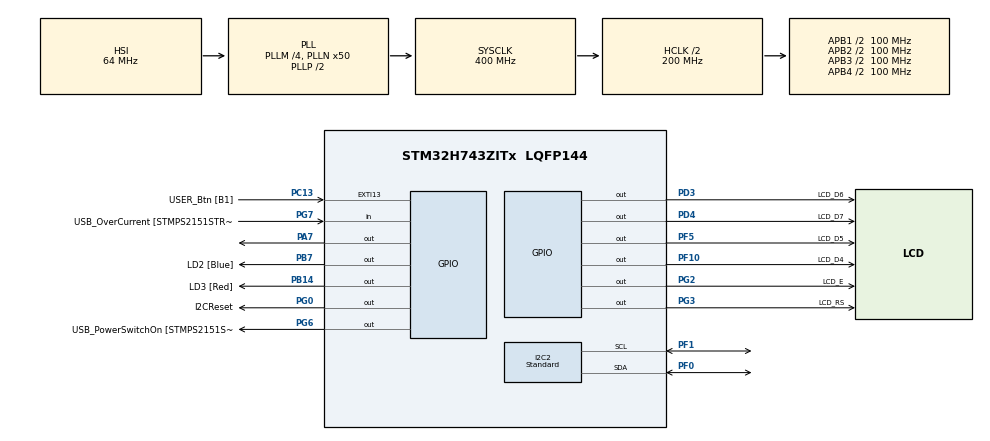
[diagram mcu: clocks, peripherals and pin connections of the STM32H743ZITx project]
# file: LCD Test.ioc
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I2C2.I2C_Speed_Mode=I2C_Standard
I2C2.Timing=0x10C0ECFF
Mcu.Family=STM32H7
Mcu.Name=STM32H743ZITx
Mcu.Package=LQFP144
NVIC.PriorityGroup=NVIC_PRIORITYGROUP_4
NVIC.TIM17_IRQn=true\:0\:0\:false\:false\:true\:true
PA1.GPIO_Label=RMII_REF_CLK
PA1.Signal=ETH_REF_CLK
PA10.GPIO_Label=USB_ID
PA10.Signal=USB_OTG_FS_ID
PA11.GPIO_Label=USB_DM
PA11.Signal=USB_OTG_FS_DM
PA12.GPIO_Label=USB_DP
PA12.Signal=USB_OTG_FS_DP
PA13\ (JTMS/SWDIO).GPIO_Label=TMS
PA13\ (JTMS/SWDIO).Mode=Serial_Wire
PA13\ (JTMS/SWDIO).Signal=SYS_JTMS-SWDIO
PA14\ (JTCK/SWCLK).GPIO_Label=TCK
PA14\ (JTCK/SWCLK).Mode=Serial_Wire
PA14\ (JTCK/SWCLK).Signal=SYS_JTCK-SWCLK
PA2.GPIO_Label=RMII_MDIO
PA2.Signal=ETH_MDIO
PA7.Signal=GPIO_Output
PA8.GPIO_Label=USB_SOF [TP1]
PA8.Signal=USB_OTG_FS_SOF
PA9.GPIO_Label=USB_VBUS
PA9.Signal=USB_OTG_FS_VBUS
PB13.GPIO_Label=RMII_TXD1
PB13.Signal=ETH_TXD1
PB14.GPIO_Label=LD3 [Red]
PB14.Signal=GPIO_Output
PB3\ (JTDO/TRACESWO).GPIO_Label=SWO
PB3\ (JTDO/TRACESWO).Signal=SYS_JTDO-SWO
PB7.GPIO_Label=LD2 [Blue]
PB7.Signal=GPIO_Output
PC1.GPIO_Label=RMII_MDC
PC1.Signal=ETH_MDC
PC13.GPIO_Label=USER_Btn [B1]
PC13.Signal=GPXTI13
PC14-OSC32_IN\ (OSC32_IN).Signal=RCC_OSC32_IN
PC15-OSC32_OUT\ (OSC32_OUT).Signal=RCC_OSC32_OUT
PC4.GPIO_Label=RMII_RXD0
PC4.Signal=ETH_RXD0
PC5.GPIO_Label=RMII_RXD1
PC5.Signal=ETH_RXD1
PD3.GPIO_Label=LCD_D6
PD3.GPIO_Speed=GPIO_SPEED_FREQ_HIGH
PD3.Signal=GPIO_Output
PD4.GPIO_Label=LCD_D7
PD4.GPIO_Speed=GPIO_SPEED_FREQ_HIGH
PD4.Signal=GPIO_Output
PD8.GPIO_Label=STLK_RX [STM32F103CBT6_PA3]
PD8.Signal=USART3_TX
PD9.GPIO_Label=STLK_TX [STM32F103CBT6_PA2]
PD9.Signal=USART3_RX
PF0.Mode=I2C
PF0.Signal=I2C2_SDA
PF1.Mode=I2C
PF1.Signal=I2C2_SCL
PF10.GPIO_Label=LCD_D4
PF10.GPIO_Speed=GPIO_SPEED_FREQ_HIGH
PF10.Signal=GPIO_Output
PF5.GPIO_Label=LCD_D5
PF5.GPIO_Speed=GPIO_SPEED_FREQ_HIGH
PF5.Signal=GPIO_Output
PG0.GPIO_Label=I2CReset
PG0.GPIO_PuPd=GPIO_NOPULL
PG0.GPIO_Speed=GPIO_SPEED_FREQ_LOW
PG0.PinState=GPIO_PIN_SET
PG0.Signal=GPIO_Output
PG11.GPIO_Label=RMII_TX_EN
PG11.Signal=ETH_TX_EN
PG13.GPIO_Label=RMII_TXD0
PG13.Signal=ETH_TXD0
PG2.GPIO_Label=LCD_E
PG2.GPIO_Speed=GPIO_SPEED_FREQ_HIGH
PG2.Signal=GPIO_Output
PG3.GPIO_Label=LCD_RS
PG3.GPIO_Speed=GPIO_SPEED_FREQ_HIGH
PG3.Signal=GPIO_Output
PG6.GPIO_Label=USB_PowerSwitchOn [STMPS2151STR_EN]
PG6.Signal=GPIO_Output
PG7.GPIO_Label=USB_OverCurrent [STMPS2151STR_FAULT]
PG7.Signal=GPIO_Input
PH0-OSC_IN\ (PH0).GPIO_Label=MCO
PH0-OSC_IN\ (PH0).Signal=RCC_OSC_IN
ProjectManager.HeapSize=0x200
ProjectManager.StackSize=0x400
ProjectManager.TargetToolchain=TrueSTUDIO
RCC.48MHZClocksFreq_Value=24000000
RCC.ADCFreq_Value=129000000
RCC.AHBFreq_Value=216000000
RCC.APB1CLKDivider=RCC_HCLK_DIV4
RCC.APB1Freq_Value=100000000
RCC.APB1TimFreq_Value=108000000
RCC.APB2CLKDivider=RCC_HCLK_DIV2
RCC.APB2Freq_Value=100000000
RCC.APB2TimFreq_Value=216000000
RCC.APB3Freq_Value=100000000
RCC.APB4Freq_Value=100000000
RCC.CortexFreq_Value=400000000
RCC.D1PPRE=RCC_APB3_DIV2
RCC.D2PPRE1=RCC_APB1_DIV2
RCC.D2PPRE2=RCC_APB2_DIV2
RCC.D3PPRE=RCC_APB4_DIV2
RCC.DIVM1=4
RCC.DIVN1=50
RCC.DIVQ1=4
RCC.HCLKFreq_Value=200000000
RCC.HPRE=RCC_HCLK_DIV2
RCC.HSE_VALUE=8000000
RCC.HSI_VALUE=64000000
RCC.PLLM=25
RCC.PLLMUL=RCC_PLL_MUL9
RCC.PLLN=432
RCC.PLLQ=9
RCC.PRESCALERUSB=RCC_USBCLKSOURCE_PLL_DIV1_5
RCC.SYSCLKFreq_VALUE=400000000
RCC.SYSCLKSource=RCC_SYSCLKSOURCE_PLLCLK
RCC.SYSCLKSourceVirtual=RCC_SYSCLKSOURCE_PLLCLK
RCC.USBFreq_Value=200000000
RCC.VCOOutputFreq_Value=432000000
TIM17.Period=1
TIM17.Prescaler=20000
VP_TIM17_VS_ClockSourceINT.Mode=Enable_Timer
board=NUCLEO-H743ZI

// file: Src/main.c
/* USER CODE BEGIN Header */
/**
  ******************************************************************************
  * @file           : main.c
  * @brief          : Main program body
  ******************************************************************************
  ** This notice applies to any and all portions of this file
  * that are not between comment pairs USER CODE BEGIN and
  * USER CODE END. Other portions of this file, whether
  * inserted by the user or by software development tools
  * are owned by their respective copyright owners.
  *
  * COPYRIGHT(c) 2019 STMicroelectronics
  *
  * Redistribution and use in source and binary forms, with or without modification,
  * are permitted provided that the following conditions are met:
  *   1. Redistributions of source code must retain the above copyright notice,
  *      this list of conditions and the following disclaimer.
  *   2. Redistributions in binary form must reproduce the above copyright notice,
  *      this list of conditions and the following disclaimer in the documentation
  *      and/or other materials provided with the distribution.
  *   3. Neither the name of STMicroelectronics nor the names of its contributors
  *      may be used to endorse or promote products derived from this software
  *      without specific prior written permission.
  *
  * THIS SOFTWARE IS PROVIDED BY THE COPYRIGHT HOLDERS AND CONTRIBUTORS "AS IS"
  * AND ANY EXPRESS OR IMPLIED WARRANTIES, INCLUDING, BUT NOT LIMITED TO, THE
  * IMPLIED WARRANTIES OF MERCHANTABILITY AND FITNESS FOR A PARTICULAR PURPOSE ARE
  * DISCLAIMED. IN NO EVENT SHALL THE COPYRIGHT HOLDER OR CONTRIBUTORS BE LIABLE
  * FOR ANY DIRECT, INDIRECT, INCIDENTAL, SPECIAL, EXEMPLARY, OR CONSEQUENTIAL
  * DAMAGES (INCLUDING, BUT NOT LIMITED TO, PROCUREMENT OF SUBSTITUTE GOODS OR
  * SERVICES; LOSS OF USE, DATA, OR PROFITS; OR BUSINESS INTERRUPTION) HOWEVER
  * CAUSED AND ON ANY THEORY OF LIABILITY, WHETHER IN CONTRACT, STRICT LIABILITY,
  * OR TORT (INCLUDING NEGLIGENCE OR OTHERWISE) ARISING IN ANY WAY OUT OF THE USE
  * OF THIS SOFTWARE, EVEN IF ADVISED OF THE POSSIBILITY OF SUCH DAMAGE.
  *
  ******************************************************************************
  */
/* USER CODE END Header */

#include "main.h"

/* USER CODE BEGIN Includes */

#include "vhd44780.h"

/* USER CODE END Includes */

/* USER CODE BEGIN PD */

/* Size of Transmission buffer */
#define TXBUFFERSIZE                      1024
/* Size of Reception buffer */
#define RXBUFFERSIZE                      TXBUFFERSIZE

/* USER CODE END PD */

I2C_HandleTypeDef hi2c2;

TIM_HandleTypeDef htim17;

/* USER CODE BEGIN PV */

/* Buffer used for transmission */
uint8_t I2CTxBuffer[TXBUFFERSIZE];

/* Buffer used for reception */
uint8_t I2CRxBuffer[RXBUFFERSIZE];

/* USER CODE END PV */

void SystemClock_Config(void);
static void MX_GPIO_Init(void);
static void MX_TIM17_Init(void);
static void MX_I2C2_Init(void);

/* USER CODE BEGIN 0 */

 void HAL_TIM_PeriodElapsedCallback(TIM_HandleTypeDef *htim)
 {
 	if ( htim->Instance == TIM17 ){
 		hd44780_Isr(); // call interrupt handler to run next clock tick for display.
 //		HAL_GPIO_TogglePin(LD2_GPIO_Port,LD2_Pin);
 	}
 }

/* USER CODE END 0 */

int main(void)
{

  /* MCU Configuration--------------------------------------------------------*/

  /* Reset of all peripherals, Initializes the Flash interface and the Systick. */
  HAL_Init();

  /* Configure the system clock */
  SystemClock_Config();

  /* Initialize all configured peripherals */
  MX_GPIO_Init();
  MX_TIM17_Init();
  MX_I2C2_Init();
  /* USER CODE BEGIN 2 */

  // bosch  db055 is i2c id 0x29

  hd44780_Init();

  HAL_NVIC_SetPriority(TIM17_IRQn, 0, 0);
  HAL_NVIC_EnableIRQ(TIM17_IRQn);

  HAL_TIM_Base_Start_IT(&htim17);

  // bosch OPR_MODE 0x3D register

  	int i = 0;
	char buf[12];
	HAL_StatusTypeDef result;

// searching for i2c devices.

	/*
	for (i=1; i<128; i++)
	*/

	// reset the BNO055 with reset pin.

	HAL_GPIO_WritePin(I2CReset_GPIO_Port,I2CReset_Pin,0);
	HAL_Delay(1);
	HAL_GPIO_WritePin(I2CReset_GPIO_Port,I2CReset_Pin,1);
	HAL_Delay(650);

	  //
	  // the HAL wants a left aligned i2c address
	  // &hi2c1 is the handle
	  // (uint16_t)(i<<1) is the i2c address left aligned
	  // retries 2
	  // timeout 2

		// wire reset pin, toggle on boot?

	  // check if i2c device is there.  0x29
	  result = HAL_I2C_IsDeviceReady(&hi2c2, (uint16_t)(0x29<<1), 2, 2);
	  if (result != HAL_OK) // HAL_ERROR or HAL_BUSY or HAL_TIMEOUT
	  {
		  sprintf(buf, "0x%X : no", i);
		  hd44780_writeline1(buf);
		  // No ACK received at that address, hardware not responding.
	  }
	  if (result == HAL_OK)
	  {

			sprintf(buf, "0x%X : yes", i);
			hd44780_writeline1(buf);
			// Received an ACK at that address, device is responding.
	  }

  HAL_Delay(500);

  I2CTxBuffer[0] = 0;
  I2CTxBuffer[1] = 0;
  i = 0;

  // send message
  while(HAL_I2C_Master_Transmit(&hi2c2, (uint16_t)0x29<<1, (uint8_t*)I2CTxBuffer, 1, 1)!= HAL_OK)
  {
    /* Error_Handler() function is called when Timeout error occurs.
       When Acknowledge failure occurs (Slave don't acknowledge its address)
       Master restarts communication */
    if (HAL_I2C_GetError(&hi2c2) != HAL_I2C_ERROR_AF)
    {
      HAL_GPIO_WritePin(LD3_GPIO_Port,LD3_Pin,1);
      Error_Handler();
      break;
    }
    i++;
  }

 // while(HAL_I2C_Master_Transmit_DMA(&hi2c2, (uint16_t)0x29, (uint8_t*)I2CTxBuffer, 1)!= HAL_OK)

	//	-- Read chip information.
/*		RX_buff = I2C.writeRead({0x00}, 7)
		print("Chip ID: ", string.format("0x%02X",RX_buff[1]))
		print("Software Revision: ", RX_buff[5] + RX_buff[6] * 256)

*/

  // wait for message to finish sending.
  HAL_GPIO_WritePin(LD2_GPIO_Port,LD2_Pin,1);

  while (HAL_I2C_GetState(&hi2c2) != HAL_I2C_STATE_READY)
    {

    }

  // receive message.

  while(HAL_I2C_Master_Receive(&hi2c2, (uint16_t)0x29<<1, (uint8_t *)I2CRxBuffer, 7, 1) != HAL_OK)
  {
    /* Error_Handler() function is called when Timeout error occurs.
       When Acknowledge failure occurs (Slave don't acknowledge it's address)
       Master restarts communication */
    if (HAL_I2C_GetError(&hi2c2) != HAL_I2C_ERROR_AF)
    {
      Error_Handler();
    }
  }

  /* USER CODE END 2 */

  /* Infinite loop */
  /* USER CODE BEGIN WHILE */
 // int i = 0;
  while (1)
  {
    /* USER CODE END WHILE */

    /* USER CODE BEGIN 3 */

	HAL_Delay(1000);
	i++;
	char buf[12];
	sprintf(buf, "Counter %d", i);
	hd44780_writeline1(buf);
//	hd44780_writeline2(I2CRxBuffer);

  }
  /* USER CODE END 3 */
}

void SystemClock_Config(void)
{
  RCC_OscInitTypeDef RCC_OscInitStruct = {0};
  RCC_ClkInitTypeDef RCC_ClkInitStruct = {0};
  RCC_PeriphCLKInitTypeDef PeriphClkInitStruct = {0};

  /**Supply configuration update enable
  */
  MODIFY_REG(PWR->CR3, PWR_CR3_SCUEN, 0);
  /**Configure the main internal regulator output voltage
  */
  __HAL_PWR_VOLTAGESCALING_CONFIG(PWR_REGULATOR_VOLTAGE_SCALE1);

  while ((PWR->D3CR & (PWR_D3CR_VOSRDY)) != PWR_D3CR_VOSRDY)
  {

  }
  /**Initializes the CPU, AHB and APB busses clocks
  */
  RCC_OscInitStruct.OscillatorType = RCC_OSCILLATORTYPE_HSI;
  RCC_OscInitStruct.HSIState = RCC_HSI_DIV1;
  RCC_OscInitStruct.HSICalibrationValue = RCC_HSICALIBRATION_DEFAULT;
  RCC_OscInitStruct.PLL.PLLState = RCC_PLL_ON;
  RCC_OscInitStruct.PLL.PLLSource = RCC_PLLSOURCE_HSI;
  RCC_OscInitStruct.PLL.PLLM = 4;
  RCC_OscInitStruct.PLL.PLLN = 50;
  RCC_OscInitStruct.PLL.PLLP = 2;
  RCC_OscInitStruct.PLL.PLLQ = 4;
  RCC_OscInitStruct.PLL.PLLR = 2;
  RCC_OscInitStruct.PLL.PLLRGE = RCC_PLL1VCIRANGE_3;
  RCC_OscInitStruct.PLL.PLLVCOSEL = RCC_PLL1VCOWIDE;
  RCC_OscInitStruct.PLL.PLLFRACN = 0;
  if (HAL_RCC_OscConfig(&RCC_OscInitStruct) != HAL_OK)
  {
    Error_Handler();
  }
  /**Initializes the CPU, AHB and APB busses clocks
  */
  RCC_ClkInitStruct.ClockType = RCC_CLOCKTYPE_HCLK|RCC_CLOCKTYPE_SYSCLK
                              |RCC_CLOCKTYPE_PCLK1|RCC_CLOCKTYPE_PCLK2
                              |RCC_CLOCKTYPE_D3PCLK1|RCC_CLOCKTYPE_D1PCLK1;
  RCC_ClkInitStruct.SYSCLKSource = RCC_SYSCLKSOURCE_PLLCLK;
  RCC_ClkInitStruct.SYSCLKDivider = RCC_SYSCLK_DIV1;
  RCC_ClkInitStruct.AHBCLKDivider = RCC_HCLK_DIV2;
  RCC_ClkInitStruct.APB3CLKDivider = RCC_APB3_DIV2;
  RCC_ClkInitStruct.APB1CLKDivider = RCC_APB1_DIV2;
  RCC_ClkInitStruct.APB2CLKDivider = RCC_APB2_DIV2;
  RCC_ClkInitStruct.APB4CLKDivider = RCC_APB4_DIV2;

  if (HAL_RCC_ClockConfig(&RCC_ClkInitStruct, FLASH_LATENCY_2) != HAL_OK)
  {
    Error_Handler();
  }
  PeriphClkInitStruct.PeriphClockSelection = RCC_PERIPHCLK_I2C2;
  PeriphClkInitStruct.I2c123ClockSelection = RCC_I2C123CLKSOURCE_D2PCLK1;
  if (HAL_RCCEx_PeriphCLKConfig(&PeriphClkInitStruct) != HAL_OK)
  {
    Error_Handler();
  }
}

static void MX_I2C2_Init(void)
{

  hi2c2.Instance = I2C2;
  hi2c2.Init.Timing = 0x10C0ECFF;
  hi2c2.Init.OwnAddress1 = 0;
  hi2c2.Init.AddressingMode = I2C_ADDRESSINGMODE_7BIT;
  hi2c2.Init.DualAddressMode = I2C_DUALADDRESS_DISABLE;
  hi2c2.Init.OwnAddress2 = 0;
  hi2c2.Init.OwnAddress2Masks = I2C_OA2_NOMASK;
  hi2c2.Init.GeneralCallMode = I2C_GENERALCALL_DISABLE;
  hi2c2.Init.NoStretchMode = I2C_NOSTRETCH_DISABLE;
  if (HAL_I2C_Init(&hi2c2) != HAL_OK)
  {
    Error_Handler();
  }
  /**Configure Analogue filter
  */
  if (HAL_I2CEx_ConfigAnalogFilter(&hi2c2, I2C_ANALOGFILTER_ENABLE) != HAL_OK)
  {
    Error_Handler();
  }
  /**Configure Digital filter
  */
  if (HAL_I2CEx_ConfigDigitalFilter(&hi2c2, 0) != HAL_OK)
  {
    Error_Handler();
  }

}

static void MX_TIM17_Init(void)
{

  htim17.Instance = TIM17;
  htim17.Init.Prescaler = 20000;
  htim17.Init.CounterMode = TIM_COUNTERMODE_UP;
  htim17.Init.Period = 1;
  htim17.Init.ClockDivision = TIM_CLOCKDIVISION_DIV1;
  htim17.Init.RepetitionCounter = 0;
  htim17.Init.AutoReloadPreload = TIM_AUTORELOAD_PRELOAD_DISABLE;
  if (HAL_TIM_Base_Init(&htim17) != HAL_OK)
  {
    Error_Handler();
  }

}

static void MX_GPIO_Init(void)
{
  GPIO_InitTypeDef GPIO_InitStruct = {0};

  /* GPIO Ports Clock Enable */
  __HAL_RCC_GPIOC_CLK_ENABLE();
  __HAL_RCC_GPIOF_CLK_ENABLE();
  __HAL_RCC_GPIOH_CLK_ENABLE();
  __HAL_RCC_GPIOA_CLK_ENABLE();
  __HAL_RCC_GPIOG_CLK_ENABLE();
  __HAL_RCC_GPIOB_CLK_ENABLE();
  __HAL_RCC_GPIOD_CLK_ENABLE();

  /*Configure GPIO pin Output Level */
  HAL_GPIO_WritePin(GPIOF, LCD_D5_Pin|LCD_D4_Pin, GPIO_PIN_RESET);

  /*Configure GPIO pin Output Level */
  HAL_GPIO_WritePin(GPIOA, GPIO_PIN_7, GPIO_PIN_RESET);

  /*Configure GPIO pin Output Level */
  HAL_GPIO_WritePin(I2CReset_GPIO_Port, I2CReset_Pin, GPIO_PIN_SET);

  /*Configure GPIO pin Output Level */
  HAL_GPIO_WritePin(GPIOB, LD3_Pin|LD2_Pin, GPIO_PIN_RESET);

  /*Configure GPIO pin Output Level */
  HAL_GPIO_WritePin(GPIOG, LCD_E_Pin|LCD_RS_Pin|USB_PowerSwitchOn_Pin, GPIO_PIN_RESET);

  /*Configure GPIO pin Output Level */
  HAL_GPIO_WritePin(GPIOD, LCD_D6_Pin|LCD_D7_Pin, GPIO_PIN_RESET);

  /*Configure GPIO pin : USER_Btn_Pin */
  GPIO_InitStruct.Pin = USER_Btn_Pin;
  GPIO_InitStruct.Mode = GPIO_MODE_IT_RISING;
  GPIO_InitStruct.Pull = GPIO_NOPULL;
  HAL_GPIO_Init(USER_Btn_GPIO_Port, &GPIO_InitStruct);

  /*Configure GPIO pins : LCD_D5_Pin LCD_D4_Pin */
  GPIO_InitStruct.Pin = LCD_D5_Pin|LCD_D4_Pin;
  GPIO_InitStruct.Mode = GPIO_MODE_OUTPUT_PP;
  GPIO_InitStruct.Pull = GPIO_NOPULL;
  GPIO_InitStruct.Speed = GPIO_SPEED_FREQ_HIGH;
  HAL_GPIO_Init(GPIOF, &GPIO_InitStruct);

  /*Configure GPIO pins : RMII_MDC_Pin RMII_RXD0_Pin RMII_RXD1_Pin */
  GPIO_InitStruct.Pin = RMII_MDC_Pin|RMII_RXD0_Pin|RMII_RXD1_Pin;
  GPIO_InitStruct.Mode = GPIO_MODE_AF_PP;
  GPIO_InitStruct.Pull = GPIO_NOPULL;
  GPIO_InitStruct.Speed = GPIO_SPEED_FREQ_LOW;
  GPIO_InitStruct.Alternate = GPIO_AF11_ETH;
  HAL_GPIO_Init(GPIOC, &GPIO_InitStruct);

  /*Configure GPIO pins : RMII_REF_CLK_Pin RMII_MDIO_Pin */
  GPIO_InitStruct.Pin = RMII_REF_CLK_Pin|RMII_MDIO_Pin;
  GPIO_InitStruct.Mode = GPIO_MODE_AF_PP;
  GPIO_InitStruct.Pull = GPIO_NOPULL;
  GPIO_InitStruct.Speed = GPIO_SPEED_FREQ_LOW;
  GPIO_InitStruct.Alternate = GPIO_AF11_ETH;
  HAL_GPIO_Init(GPIOA, &GPIO_InitStruct);

  /*Configure GPIO pin : PA7 */
  GPIO_InitStruct.Pin = GPIO_PIN_7;
  GPIO_InitStruct.Mode = GPIO_MODE_OUTPUT_PP;
  GPIO_InitStruct.Pull = GPIO_NOPULL;
  GPIO_InitStruct.Speed = GPIO_SPEED_FREQ_LOW;
  HAL_GPIO_Init(GPIOA, &GPIO_InitStruct);

  /*Configure GPIO pins : I2CReset_Pin USB_PowerSwitchOn_Pin */
  GPIO_InitStruct.Pin = I2CReset_Pin|USB_PowerSwitchOn_Pin;
  GPIO_InitStruct.Mode = GPIO_MODE_OUTPUT_PP;
  GPIO_InitStruct.Pull = GPIO_NOPULL;
  GPIO_InitStruct.Speed = GPIO_SPEED_FREQ_LOW;
  HAL_GPIO_Init(GPIOG, &GPIO_InitStruct);

  /*Configure GPIO pin : RMII_TXD1_Pin */
  GPIO_InitStruct.Pin = RMII_TXD1_Pin;
  GPIO_InitStruct.Mode = GPIO_MODE_AF_PP;
  GPIO_InitStruct.Pull = GPIO_NOPULL;
  GPIO_InitStruct.Speed = GPIO_SPEED_FREQ_LOW;
  GPIO_InitStruct.Alternate = GPIO_AF11_ETH;
  HAL_GPIO_Init(RMII_TXD1_GPIO_Port, &GPIO_InitStruct);

  /*Configure GPIO pins : LD3_Pin LD2_Pin */
  GPIO_InitStruct.Pin = LD3_Pin|LD2_Pin;
  GPIO_InitStruct.Mode = GPIO_MODE_OUTPUT_PP;
  GPIO_InitStruct.Pull = GPIO_NOPULL;
  GPIO_InitStruct.Speed = GPIO_SPEED_FREQ_LOW;
  HAL_GPIO_Init(GPIOB, &GPIO_InitStruct);

  /*Configure GPIO pins : STLK_RX_Pin STLK_TX_Pin */
  GPIO_InitStruct.Pin = STLK_RX_Pin|STLK_TX_Pin;
  GPIO_InitStruct.Mode = GPIO_MODE_AF_PP;
  GPIO_InitStruct.Pull = GPIO_NOPULL;
  GPIO_InitStruct.Speed = GPIO_SPEED_FREQ_LOW;
  GPIO_InitStruct.Alternate = GPIO_AF7_USART3;
  HAL_GPIO_Init(GPIOD, &GPIO_InitStruct);

  /*Configure GPIO pins : LCD_E_Pin LCD_RS_Pin */
  GPIO_InitStruct.Pin = LCD_E_Pin|LCD_RS_Pin;
  GPIO_InitStruct.Mode = GPIO_MODE_OUTPUT_PP;
  GPIO_InitStruct.Pull = GPIO_NOPULL;
  GPIO_InitStruct.Speed = GPIO_SPEED_FREQ_HIGH;
  HAL_GPIO_Init(GPIOG, &GPIO_InitStruct);

  /*Configure GPIO pin : USB_OverCurrent_Pin */
  GPIO_InitStruct.Pin = USB_OverCurrent_Pin;
  GPIO_InitStruct.Mode = GPIO_MODE_INPUT;
  GPIO_InitStruct.Pull = GPIO_NOPULL;
  HAL_GPIO_Init(USB_OverCurrent_GPIO_Port, &GPIO_InitStruct);

  /*Configure GPIO pins : USB_SOF_Pin USB_ID_Pin USB_DM_Pin USB_DP_Pin */
  GPIO_InitStruct.Pin = USB_SOF_Pin|USB_ID_Pin|USB_DM_Pin|USB_DP_Pin;
  GPIO_InitStruct.Mode = GPIO_MODE_AF_PP;
  GPIO_InitStruct.Pull = GPIO_NOPULL;
  GPIO_InitStruct.Speed = GPIO_SPEED_FREQ_LOW;
  GPIO_InitStruct.Alternate = GPIO_AF10_OTG1_FS;
  HAL_GPIO_Init(GPIOA, &GPIO_InitStruct);

  /*Configure GPIO pins : LCD_D6_Pin LCD_D7_Pin */
  GPIO_InitStruct.Pin = LCD_D6_Pin|LCD_D7_Pin;
  GPIO_InitStruct.Mode = GPIO_MODE_OUTPUT_PP;
  GPIO_InitStruct.Pull = GPIO_NOPULL;
  GPIO_InitStruct.Speed = GPIO_SPEED_FREQ_HIGH;
  HAL_GPIO_Init(GPIOD, &GPIO_InitStruct);

  /*Configure GPIO pins : RMII_TX_EN_Pin RMII_TXD0_Pin */
  GPIO_InitStruct.Pin = RMII_TX_EN_Pin|RMII_TXD0_Pin;
  GPIO_InitStruct.Mode = GPIO_MODE_AF_PP;
  GPIO_InitStruct.Pull = GPIO_NOPULL;
  GPIO_InitStruct.Speed = GPIO_SPEED_FREQ_LOW;
  GPIO_InitStruct.Alternate = GPIO_AF11_ETH;
  HAL_GPIO_Init(GPIOG, &GPIO_InitStruct);

}

void Error_Handler(void)
{
}

/************************ (C) COPYRIGHT STMicroelectronics *****END OF FILE****/
